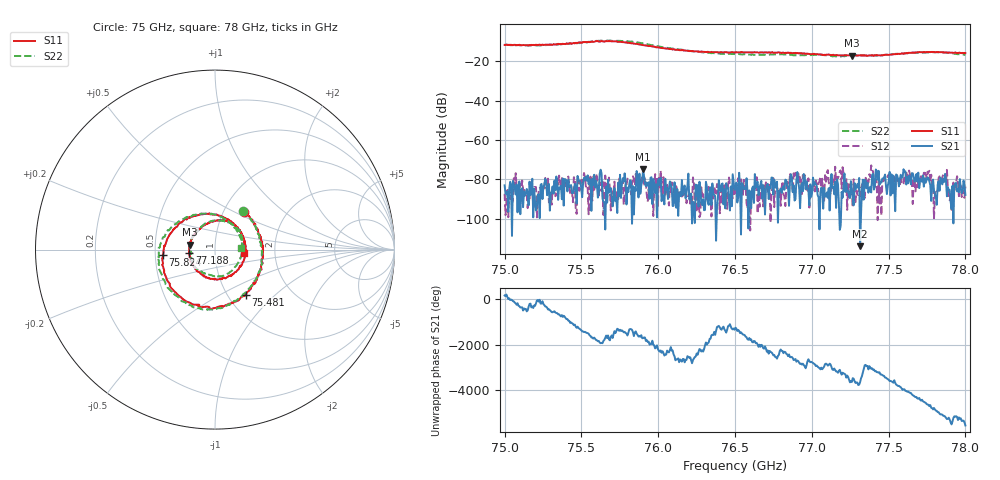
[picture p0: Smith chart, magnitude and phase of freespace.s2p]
# Hz S RI R 50
! CMT, C4420, 21421029, 25.1.2/3
! Date: 8/5/2025 12:49:45 PM
! Data: Format (Calibration Info)
! Freq	S33:Re/Im(F2)	S43:Re/Im(F2)	S34:Re/Im(F2)	S44:Re/Im(F2)
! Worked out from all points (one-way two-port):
!   500 points, 75 GHz to 78 GHz, reference 50 ohm
!   highest |S21| = -74.74 dB at 75.902 GHz (marker M1); lowest = -114.1 dB at 77.315 GHz (marker M2)
!   lowest |S11| = -17.0 dB at 77.261 GHz (marker M3), VSWR 1.33, Z = 37.8 + j2.1 ohm
!   |S11| at or under -10 dB: start of sweep to 75.561 GHz; 75.73947 GHz to 75.7486 GHz (9.13 MHz wide, 0.0121 % of centre); 75.754 GHz to end of sweep (the widest 3 of 4)
!   |S22| runs from -17.6 to -9.3 dB; largest |S21 - S12| = 0.00027
!   S11 on the Smith chart (normalised r, x): 75 GHz: 1.25, +0.56; 75.481 GHz: 1.21, -0.67; 75.824 GHz: 0.55, -0.04; 77.188 GHz: 0.75, -0.03; 78 GHz: 1.39, -0.05
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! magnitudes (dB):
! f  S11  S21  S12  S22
! 75 GHz  -11.6  -83.1  -87.4  -11.4
! 75.481 GHz  -10.4  -80.2  -81.3  -10.6
! 75.505 GHz  -10.4  -89.1  -83.3  -10.3
! 75.824 GHz  -10.7  -81.5  -87.7  -9.9
! 75.902 GHz  -11.6  -74.7  -79.8  -10.8
! 76.004 GHz  -12.9  -79.8  -79.3  -12.3
! 76.503 GHz  -15.4  -85.1  -84.7  -16.2
! 77.002 GHz  -16.2  -86.7  -87.5  -16.6
! 77.134 GHz  -16.7  -84.2  -83.1  -17.4
! 77.188 GHz  -16.9  -103.6  -75.5  -17.5
! 77.261 GHz  -17.0  -84.5  -86.3  -16.8
! 77.315 GHz  -16.9  -114.1  -85.3  -16.9
! 77.387 GHz  -16.9  -86.7  -72.9  -17.0
! 77.417 GHz  -16.8  -75.0  -80.2  -16.9
! 77.501 GHz  -16.6  -80.8  -77.6  -16.5
! 77.597 GHz  -16.0  -74.9  -82.3  -15.9
! 77.627 GHz  -15.7  -82.1  -77.1  -15.8
! 77.687 GHz  -15.2  -81.2  -84.0  -15.6
! 77.754 GHz  -15.2  -79.0  -76.2  -15.4
! 77.796 GHz  -15.2  -85.7  -99.9  -15.3
! 77.868 GHz  -15.4  -77.2  -77.1  -15.5
! 78 GHz  -15.7  -87.9  -83.7  -16.6
